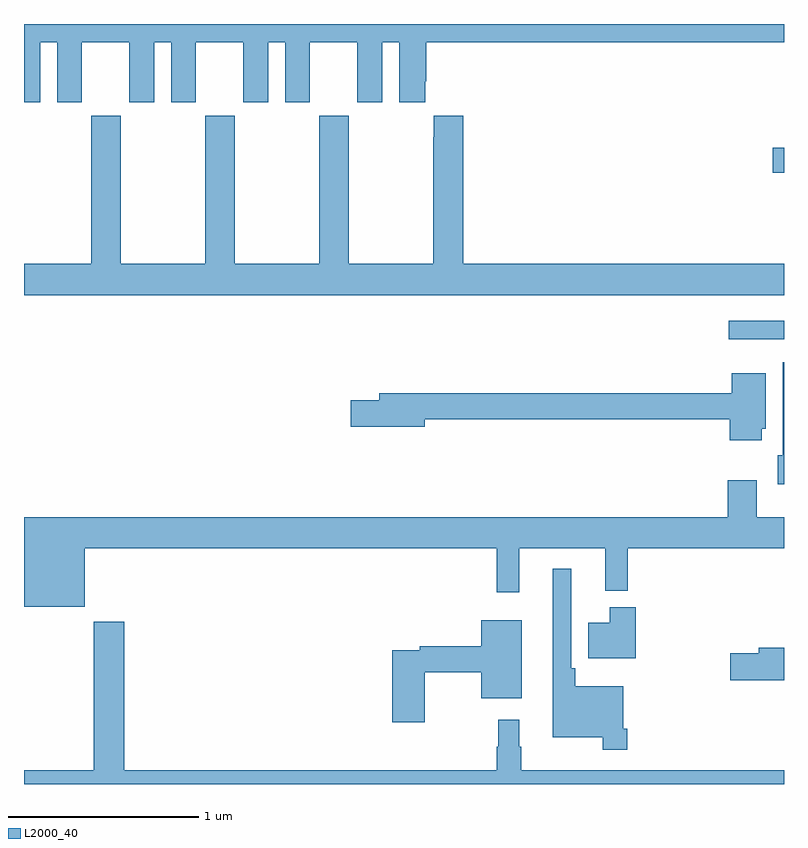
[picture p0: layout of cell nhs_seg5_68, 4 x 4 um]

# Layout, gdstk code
import gdstk
lib = gdstk.Library(unit=1e-6, precision=1e-09)
def R(c, l, rs):  # rectangles x0, y0, x1, y1
    for r in rs: c.add(gdstk.rectangle(r[:2], r[2:], *l))
def P(c, l, *ps):  # polygons
    for p in ps: c.add(gdstk.Polygon(p, *l))
L2000_40 = (2000, 40)

nhs_seg5_68 = lib.new_cell('nhs_seg5_68')
R(nhs_seg5_68, L2000_40, [(116.709,911.139,117,911.236), (116.94,912.017,117,912.147)])
P(nhs_seg5_68, L2000_40, [(113.086,912.704),(113.174,912.704),(113.174,912.387),(113.305,912.387),(113.305,912.704),(113.555,912.704),(113.555,912.387),(113.686,912.387),(113.686,912.704),(113.774,912.704),(113.774,912.387),(113.905,912.387),(113.905,912.704),(114.155,912.704),(114.155,912.387),(114.286,912.387),(114.286,912.704),(114.374,912.704),(114.374,912.387),(114.505,912.387),(114.505,912.704),(114.755,912.704),(114.755,912.387),(114.886,912.387),(114.886,912.704),(114.974,912.704),(114.974,912.387),(115.111,912.387),(115.111,912.499),(115.118,912.499),(115.118,912.704),(117,912.704),(117,912.799),(113,912.799),(113,912.387),(113.086,912.387)],
  [(117,911.536),(115.313,911.536),(115.313,912.316),(115.157,912.316),(115.157,912.203),(115.153,912.203),(115.153,911.536),(114.708,911.536),(114.708,912.316),(114.553,912.316),(114.553,911.536),(114.108,911.536),(114.108,912.316),(113.953,912.316),(113.953,911.536),(113.508,911.536),(113.508,912.316),(113.353,912.316),(113.353,911.536),(113,911.536),(113,911.372),(117,911.372)],
  [(117,911.02),(116.993,911.02),(116.993,910.53),(116.966,910.53),(116.966,910.376),(117,910.376)],
  [(116.884,910.668),(116.905,910.668),(116.905,910.96),(116.726,910.96),(116.726,910.856),(114.869,910.856),(114.869,910.82),(114.72,910.82),(114.72,910.678),(115.108,910.678),(115.108,910.72),(116.714,910.72),(116.714,910.608),(116.884,910.608)],
  [(113.32,910.04),(115.489,910.04),(115.489,909.807),(115.607,909.807),(115.607,910.04),(116.06,910.04),(116.06,909.815),(116.177,909.815),(116.177,910.04),(117,910.04),(117,910.204),(116.857,910.204),(116.857,910.399),(116.705,910.399),(116.705,910.204),(113,910.204),(113,909.731),(113.32,909.731)],
  [(116.174,909.091),(116.154,909.091),(116.154,909.313),(115.901,909.313),(115.901,909.409),(115.881,909.409),(115.881,909.931),(115.784,909.931),(115.784,909.044),(116.046,909.044),(116.046,908.979),(116.174,908.979)],
  [(116.219,909.73),(116.084,909.73),(116.084,909.649),(115.97,909.649),(115.97,909.461),(116.219,909.461)],
  [(115.108,909.388),(115.406,909.388),(115.406,909.251),(115.621,909.251),(115.621,909.661),(115.406,909.661),(115.406,909.524),(115.084,909.524),(115.084,909.504),(114.938,909.504),(114.938,909.123),(115.108,909.123)],
  [(117,908.872),(115.618,908.872),(115.618,908.996),(115.606,908.996),(115.606,909.136),(115.497,909.136),(115.497,908.996),(115.489,908.996),(115.489,908.872),(113.528,908.872),(113.528,909.652),(113.368,909.652),(113.368,908.872),(113,908.872),(113,908.799),(117,908.799)],
  [(117,909.517),(116.867,909.517),(116.867,909.488),(116.718,909.488),(116.718,909.346),(117,909.346)])

lib.write_gds('nhs_seg5_68.gds')
